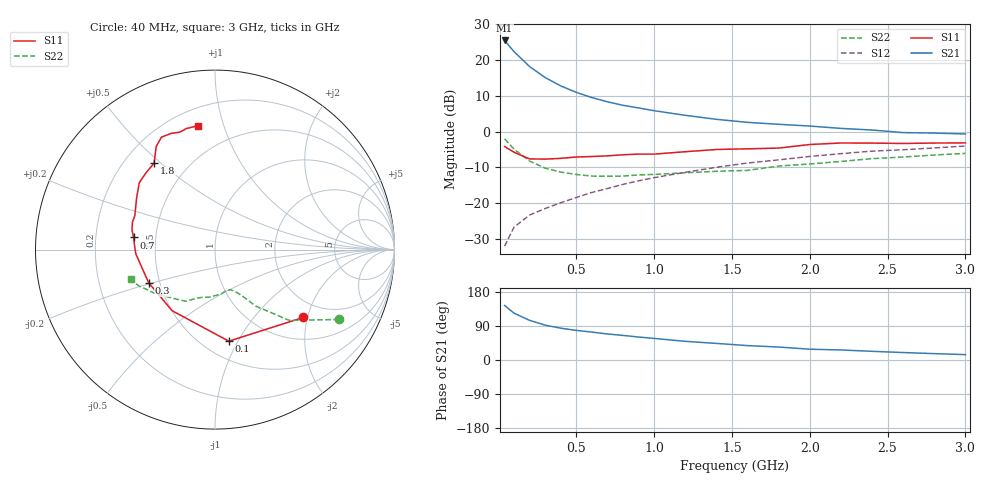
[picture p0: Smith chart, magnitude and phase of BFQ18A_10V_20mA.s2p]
! Filename:  BFQ18AA.S2P  Version:  2.0
! Philips part #: BFQ18A  Date: May 1990
! Bias condition: Vce=10V, Ic=20mA
#  MHz  S  MA  R  50
! Freq  S11  S21  S12  S22  !GUM [dB]
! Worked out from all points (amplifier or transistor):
!   21 points, 40 MHz to 3 GHz, reference 50 ohm
!   highest |S21| = 25.5 dB at 40 MHz (marker M1)
!   |S21| within 3 dB of that: start of sweep to 98 MHz
!   unconditionally stable (mu >= 1): 517.3 MHz to 750 MHz
!   at 300 MHz: K = 0.89, MSG = 18.3 dB, |S12| = -21.5 dB
!   at 1 GHz: K = 0.96, MSG = 9.4 dB, |S12| = -12.9 dB
!   at 3 GHz: K = 0.82, MSG = 1.7 dB, |S12| = -4.0 dB
!   S11 on the Smith chart (normalised r, x): 40 MHz: 1.53, -1.88; 100 MHz: 0.66, -0.92; 300 MHz: 0.43, -0.19; 700 MHz: 0.37, +0.06; 1.8 GHz: 0.32, +0.48; 3 GHz: 0.31, +0.83
40  0.62 -37.6  18.88 143.9  0.025 66.3  0.793 -29.4
100  0.516 -81.4  13.21 123.7  0.046 58.4  0.572 -43.6
200  0.416 -125.1  8.16 104.7  0.068 57.1  0.388 -54.2
300  0.413 -153.4  5.721 92.0  0.084 60.3  0.309 -58.8
400  0.423 -168.6  4.371 84.0  0.101 62.6  0.272 -62.4
500  0.442 -177.0  3.551 78.1  0.12 65.4  0.252 -65.8
600  0.449 177.0  2.999 73.7  0.141 67.6  0.239 -69.2
700  0.458 171.5  2.621 68.7  0.16 69.2  0.238 -72.6
800  0.475 166.8  2.338 64.9  0.183 69.8  0.239 -76.8
900  0.485 161.5  2.147 60.6  0.205 69.4  0.248 -81.2
1000  0.485 157.1  1.965 57.0  0.227 69.2  0.252 -86.0
1200  0.524 146.4  1.694 49.3  0.27 68.7  0.266 -96.2
1400  0.563 138.5  1.488 43.8  0.317 68.0  0.279 -106.7
1600  0.575 132.1  1.35 38.0  0.364 64.7  0.287 -110.0
1800  0.589 125.2  1.268 34.2  0.403 63.1  0.33 -119.3
2000  0.661 119.7  1.198 28.5  0.45 60.6  0.353 -129.1
2200  0.694 115.5  1.111 26.5  0.492 58.5  0.383 -137.7
2400  0.692 110.7  1.054 22.9  0.534 54.9  0.419 -145.0
2600  0.683 106.7  0.97 19.7  0.559 52.1  0.442 -150.0
2800  0.693 103.3  0.955 16.8  0.592 49.9  0.471 -154.7
3000  0.697 97.7  0.928 14.2  0.629 46.8  0.497 -160.6
